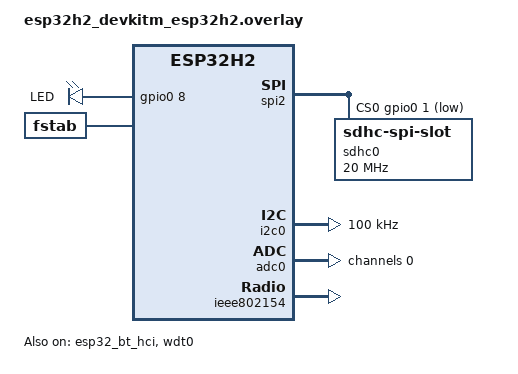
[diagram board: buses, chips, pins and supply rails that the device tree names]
/*
 * AkiraOS Device Tree Overlay — esp32h2_devkitm/esp32h2/procpu
 *
 * ESP32-H2 DevKitM (RISC-V @ 96MHz)
 * 320KB SRAM, 2-4MB Flash
 * Radios: BLE 5.3 + IEEE 802.15.4 — NO WiFi
 *
 * IMPORTANT: ESP32-H2 Zephyr SOC support ships in Zephyr 4.3.0.
 * Before building, run `west update` and verify:
 *   1. Board target name:  west boards | grep esp32h2
 *   2. Upstream pinctrl dtsi GPIO assignments (this file uses known H2 defaults
 *      from ESP-IDF; verify against zephyr/boards/espressif/esp32h2_devkitm/ once
 *      Zephyr 4.3.0 is installed)
 *   3. Flash partition table (check partitions_0x0_*.dtsi included by H2 board DTS)
 *      and adjust akira_settings_nvs_partition / lfs1_partition offsets if needed.
 *
 * Assumed H2 default GPIO assignments (ESP-IDF reference, verify with Zephyr 4.3.0):
 *   UART0:  TX=GPIO24, RX=GPIO23
 *   USB-JTAG: D-=GPIO26, D+=GPIO27 (built-in USB Serial/JTAG, not USB Device Stack)
 *   SPI2:  MISO=GPIO0, SCLK=GPIO4, MOSI=GPIO5
 *   I2C0:  SDA=GPIO12, SCL=GPIO22
 *   Boot button: GPIO9
 *
 * DO NOT add &wifi { } node — H2 has no WiFi hardware. Adding it causes DTC error.
 *
 * SD card SPI2 CS: GPIO1 (avoids GPIO0=MISO strapping, GPIO9=boot, GPIO12/22=I2C)
 */

#include <zephyr/dt-bindings/gpio/gpio.h>
/*
 * NOTE: Uncomment and verify the correct H2 pinctrl include once Zephyr 4.3.0 ships:
 * #include <zephyr/dt-bindings/pinctrl/esp-pinctrl-common.h>
 * #include <dt-bindings/pinctrl/esp32h2-pinctrl.h>
 * #include <zephyr/dt-bindings/pinctrl/esp32h2-gpio-sigmap.h>
 */

/* =========================================================================
 * SPI2 — SD card as single chip-select device
 *
 * The upstream H2 board DTS/pinctrl will set spim2_default pinctrl.
 * This overlay adds cs-gpios and the sdhc child node only.
 * SD card CS: GPIO1 (software-managed, cs-gpios[0]).
 * ========================================================================= */
&spi2 {
	status = "okay";
	cs-gpios = <&gpio0 1 GPIO_ACTIVE_LOW>;

	sdhc0: sdhc@0 {
		compatible = "zephyr,sdhc-spi-slot";
		reg = <0>;              /* uses cs-gpios[0] = GPIO1 */
		status = "okay";
		spi-max-frequency = <20000000>;    /* 20 MHz — conservative for H2 */

		mmc {
			compatible = "zephyr,sdmmc-disk";
			disk-name = "SD";
			status = "okay";
		};
	};
};

/* =========================================================================
 * I2C0
 * ========================================================================= */
&i2c0 {
	status = "okay";
	clock-frequency = <I2C_BITRATE_STANDARD>;
};

/* =========================================================================
 * ADC — SAR ADC, channel 0
 * ========================================================================= */
&adc0 {
	status = "okay";
	#address-cells = <1>;
	#size-cells = <0>;

	channel@0 {
		reg = <0>;
		zephyr,gain = "ADC_GAIN_1";
		zephyr,reference = "ADC_REF_INTERNAL";
		zephyr,acquisition-time = <ADC_ACQ_TIME_DEFAULT>;
		zephyr,resolution = <12>;
	};
};

/* =========================================================================
 * IEEE 802.15.4 — H2's primary wireless feature (Thread/Zigbee)
 * Already enabled in upstream base DTS; confirming it is okay here.
 * ========================================================================= */
&ieee802154 {
	status = "okay";
};

/* =========================================================================
 * BLE
 * ========================================================================= */
&esp32_bt_hci {
	status = "okay";
};

/* =========================================================================
 * GPIO / Watchdog
 * ========================================================================= */
&gpio0 {
	status = "okay";
};

&wdt0 {
	status = "okay";
};

/* =========================================================================
 * Flash Partitions — AkiraOS-specific
 *
 * H2 DevKitM ships with 4MB flash. Estimated standard Espressif partition map:
 *   boot(64KB)  @ 0x0
 *   sys(64KB)   @ 0x10000
 *   slot0(?)    @ 0x20000      — verify size in upstream 4.3.0 partition dtsi
 *   slot1(?)    @ ...
 *   storage(?)  @ ...
 *
 * AkiraOS partitions placed conservatively at the end of 4MB flash.
 * VERIFY these addresses do not overlap the upstream partition table once
 * Zephyr 4.3.0 ships with the H2 board DTS.
 *
 * If flash is only 2MB, reduce lfs1_partition to DT_SIZE_K(128) and
 * move akira_settings_nvs_partition to 0x1E0000 (adjust as needed).
 *
 * NVS settings:  16KB @ 0x380000
 * LittleFS:     256KB @ 0x384000   — WASM app store (XIP-from-Flash path)
 * ========================================================================= */
&flash0 {
	partitions {
		akira_settings_nvs_partition: partition@380000 {
			label = "akira_settings_nvs";
			reg = <0x00380000 DT_SIZE_K(16)>;
		};

		lfs1_partition: partition@384000 {
			label = "lfs_storage";
			reg = <0x00384000 DT_SIZE_K(256)>;
		};
	};
};

/* =========================================================================
 * Root nodes — aliases, LEDs, fstab
 * ========================================================================= */
/ {
	aliases {
		led0      = &led0;
		akira-adc = &adc0;
		/* sw0 alias — boot button GPIO9, expected in upstream base DTS */
	};

	leds {
		compatible = "gpio-leds";
		led0: led_0 {
			/* H2 DevKitM LED — verify GPIO number from board schematic */
			gpios = <&gpio0 8 GPIO_ACTIVE_HIGH>;
			label = "LED";
		};
	};

	chosen {
		zephyr,console            = &uart0;
		zephyr,shell-uart         = &uart0;
		zephyr,settings-partition = &akira_settings_nvs_partition;
	};

	fstab {
		compatible = "zephyr,fstab";

		lfs1: lfs1 {
			compatible = "zephyr,fstab,littlefs";
			read-size      = <1>;
			prog-size      = <16>;
			cache-size     = <128>;    /* Smaller than C6 — H2 has less RAM */
			lookahead-size = <32>;
			block-cycles   = <512>;
			partition      = <&lfs1_partition>;
			mount-point    = "/lfs";
		};
	};
};
